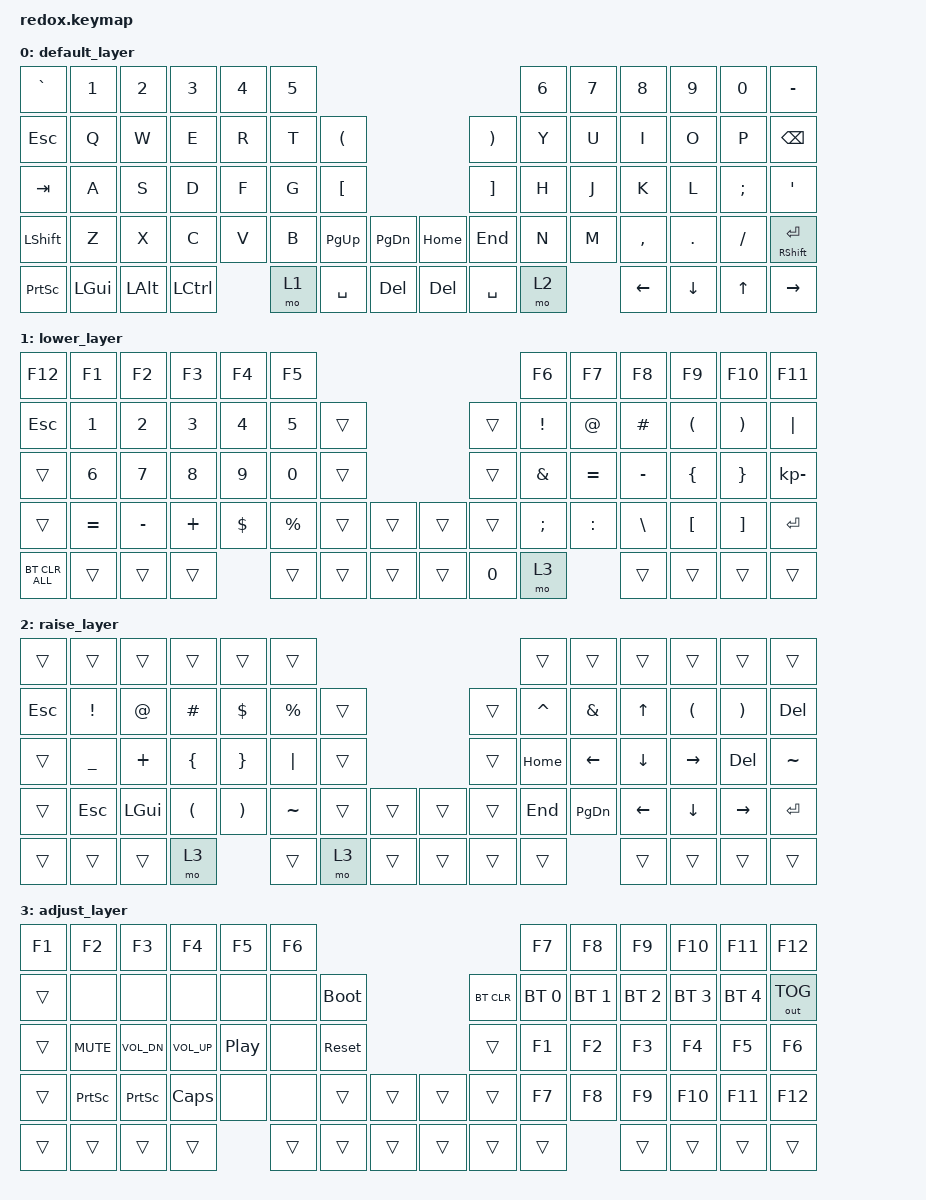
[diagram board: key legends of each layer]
/*
 * Copyright (c) 2021 The ZMK Contributors
 *
 * SPDX-License-Identifier: MIT
 */

#include <behaviors.dtsi>
#include <dt-bindings/zmk/keys.h>
#include <dt-bindings/zmk/bt.h>
#include <dt-bindings/zmk/ext_power.h>
#include <dt-bindings/zmk/outputs.h>

/ {
    keymap {
        compatible =  "zmk,keymap" ;

        default_layer {
// --------------------------------------------------------------------------------------------------------------------------------
// | `     |  1  |  2  |   3   |  4  |  5  |                   ---                |  6    |  7    |  8    |  9   | 0  |     -     |
// | ESC   |  Q  |  W  |   E   |  R  |  T  |   (   |           ---        |  )    |  Y    |  U    |  I    |  O   | P  |    BKSP   |
// | TAB   |  A  |  S  |   D   |  F  |  G  |   [   |           ---        |  ]    |  H    |  J    |  K    |  L   | ;  |     '     |
// | SHIFT |  Z  |  X  |   C   |  V  |  B  | PG_UP | PG_DOWN | --- | HOME | END   |  N    |  M    |  ,    |  .   | /  | SHFT(RET) |
// | PSCRN | GUI | ALT | LCTRL |   LOWER   | SPACE |   DEL   | --- | DEL  | SPACE |     RAISE     | LEFT  | DOWN | UP |   RIGHT   |
            bindings = <
   &kp GRAVE &kp N1   &kp N2   &kp N3    &kp N4   &kp N5                                        &kp N6    &kp N7 &kp N8    &kp N9   &kp N0   &kp MINUS
   &kp ESC   &kp Q    &kp W    &kp E     &kp R    &kp T  &kp LPAR                     &kp RPAR  &kp Y     &kp U  &kp I     &kp O    &kp P    &kp BSPC
   &kp TAB   &kp A    &kp S    &kp D     &kp F    &kp G  &kp LBKT                     &kp RBKT  &kp H     &kp J  &kp K     &kp L    &kp SEMI &kp SQT
   &kp LSHFT &kp Z    &kp X    &kp C     &kp V    &kp B  &kp PG_UP &kp PG_DN &kp HOME &kp END   &kp N     &kp M  &kp COMMA &kp DOT  &kp FSLH &mt RSHFT RET
   &kp PSCRN &kp LGUI &kp LALT &kp LCTRL          &mo 1  &kp SPACE &kp DEL   &kp DEL  &kp SPACE &mo 2            &kp LEFT  &kp DOWN &kp UP   &kp RIGHT
            >;

        };

        lower_layer {
// --------------------------------------------------------------------------------------------------------------------------
// | F12   |  F1 |  F2 |   F3  |   F4  |  F5 |                   ---              |  F6 |  F7 |   F8 |  F9  | F10 |  F11  |
// | ESC   |  1  |  2  |   3   |   4   |  5  |   (   |           ---        |  )  |  !  |  @  |   #  |  (   |  )  |   |   |
// | CTRL  |  6  |  7  |   8   |   9   |  0  |   [   |           ---        |  ]  |  &  |  =  |   -  |  {   |  }  |   -   |
// | SHIFT |  =  |  -  |   +   |   $   |  %  | PG_UP | PG_DOWN | --- | HOME | END |  ;  |  :  |   \  |  [   |  ]  |  RET  |
// | BT1   | ALT | GUI | LOWER |     GUI     | LOWER | SPACE   | --- | DEL  |  0  |    RAISE  | LEFT | DOWN | UP  | RIGHT |
            bindings = <
   &kp F12     &kp F1    &kp F2    &kp F3    &kp F4    &kp F5                                &kp F6          &kp F7    &kp F8    &kp F9    &kp F10     &kp F11
   &kp ESC     &kp N1    &kp N2    &kp N3    &kp N4    &kp N5    &trans               &trans &kp EXCL        &kp AT    &kp HASH  &kp LPAR  &kp RPAR    &kp PIPE
   &trans      &kp N6    &kp N7    &kp N8    &kp N9    &kp N0    &trans               &trans &kp AMPS        &kp EQUAL &kp MINUS &kp LBRC  &kp RBRC    &kp KP_MINUS
   &trans      &kp EQUAL &kp MINUS &kp PLUS  &kp DLLR  &kp PRCNT &trans &trans &trans &trans &kp SEMI        &kp COLON &kp BSLH  &kp LBKT  &kp RBKT    &kp RET
   &bt BT_CLR_ALL  &trans    &trans    &trans          &trans        &trans &trans &trans &kp N0          &mo 3            &trans    &trans    &trans      &trans
            >;
        };

        raise_layer {
// ----------------------------------------------------------------------------------------------------------------------------
// | ESC   |  1  |  2  |   3   |  4  |  5  |                   ---                |  6   |  7   |  8   |  9    |  0    |  DEL  |
// | ESC   |  !  |  @  |   #   |  $  |  %  |   (   |           ---        |  )    |  ^   |  &   |  UP  |  (    |  )    |  DEL  |
// | CTRL  |  _  |  +  |   {   |  }  | "|" |   [   |           ---        |  ]    | HOME | LEFT | DOWN | RIGHT |  DEL  |   ~   |
// | SHIFT | ESC | GUI |   (   |  )  |     | PG_UP | PG_DOWN | --- | HOME | END   | END  | PGDN | LEFT | DOWN  | RIGHT |  RET  |
// | CRTL  | ALT | GUI | LOWER |    GUI    | LOWER | SPACE   | --- | DEL  | SPACE |    RAISE    | LEFT | DOWN  | UP    | RIGHT |
            bindings = <
   &trans  &trans    &trans   &trans   &trans   &trans                                &trans    &trans    &trans    &trans    &trans    &trans
   &kp ESC &kp EXCL  &kp AT   &kp HASH &kp DLLR &kp PRCNT &trans               &trans &kp CARET &kp AMPS  &kp UP    &kp LPAR  &kp RPAR  &kp DEL
   &trans  &kp UNDER &kp PLUS &kp LBRC &kp RBRC &kp PIPE  &trans               &trans &kp HOME  &kp LEFT  &kp DOWN  &kp RIGHT &kp DEL   &kp TILDE
   &trans  &kp ESC   &kp LGUI &kp LPAR &kp RPAR &kp TILDE &trans &trans &trans &trans &kp END   &kp PG_DN &kp LEFT  &kp DOWN  &kp RIGHT &kp RET
   &trans  &trans    &trans   &mo 3         &trans        &mo 3  &trans &trans &trans        &trans       &trans    &trans    &trans    &trans
            >;
        };

        adjust_layer {
// -----------------------------------------------------------------------------------------
// |  F1   |  F2   |    F3    |    F4     |     F5     | F6 |                   ---                | F7  | F8  |  F9  |  F10 | F11 | F12        |
// | TAB   |       |          |           |            |    | BOOTL |           ---        |  )    | BT1 | BT2 |  BT3 |  BT4 | BT5 | OUTPUT TGL |
// | CTRL  | MUTE  |  Vol Dn  |  Vol Up   | Play/Pause |    | RESET |           ---        |  ]    | F1  | F2  |  F3  |  F4  | F5  | F6         |
// | SHIFT | PSCRN |  PSCRN   |   CAPS    |            |    | PG_UP | PG_DOWN | --- | HOME | END   | F7  | F8  |  F9  |  F10 | F11 | F12        |
// | CRTL  | ALT   |  GUI     |   LOWER   |      GUI        | LOWER | SPACE   | --- | DEL  | SPACE |   RAISE   | LEFT | DOWN | UP  |   RIGHT    |
                        bindings = <
   &kp F1  &kp F2     &kp F3       &kp F4       &kp F5           &kp F6                                 &kp F7       &kp F8       &kp F9       &kp F10      &kp F11       &kp F12
   &trans  &none      &none        &none        &none            &none  &bootloader          &bt BT_CLR &bt BT_SEL 0 &bt BT_SEL 1 &bt BT_SEL 2 &bt BT_SEL 3 &bt BT_SEL 4  &out OUT_TOG
   &trans  &kp K_MUTE &kp C_VOL_DN &kp C_VOL_UP &kp C_PLAY_PAUSE &none  &sys_reset               &trans     &kp F1       &kp F2       &kp F3       &kp F4       &kp F5        &kp F6
   &trans  &kp PSCRN  &kp PSCRN    &kp CLCK     &none            &none  &trans &trans &trans &trans     &kp F7       &kp F8       &kp F9       &kp F10      &kp F11       &kp F12
   &trans  &trans     &trans       &trans              &trans           &trans &trans &trans &trans          &trans           &trans       &trans       &trans        &trans
            >;
        };
    };
};
